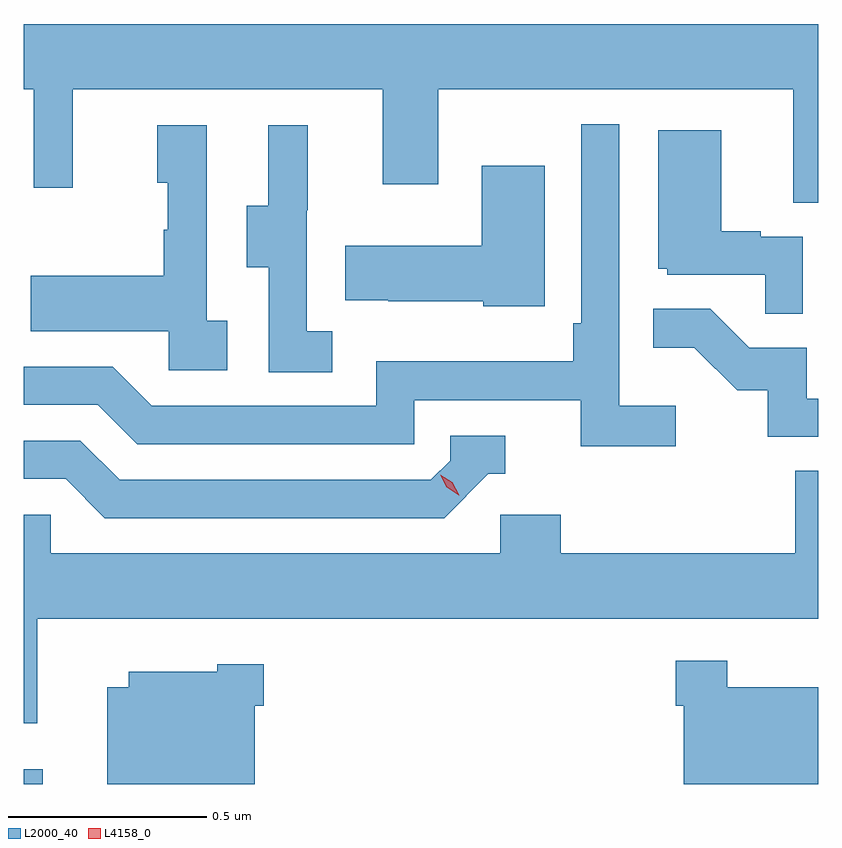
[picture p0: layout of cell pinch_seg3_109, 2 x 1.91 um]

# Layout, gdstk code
import gdstk
lib = gdstk.Library(unit=1e-6, precision=1e-09)
def R(c, l, rs):  # rectangles x0, y0, x1, y1
    for r in rs: c.add(gdstk.rectangle(r[:2], r[2:], *l))
def P(c, l, *ps):  # polygons
    for p in ps: c.add(gdstk.Polygon(p, *l))
L2000_40 = (2000, 40)
L4158_0 = (4158, 0)

pinch_seg3_109 = lib.new_cell('pinch_seg3_109')
R(pinch_seg3_109, L2000_40, [(1025.551,719.148,1025.599,719.185)])
P(pinch_seg3_109, L2000_40, [(1027.551,721.06),(1025.551,721.06),(1025.551,720.896),(1025.577,720.896),(1025.577,720.648),(1025.675,720.648),(1025.675,720.896),(1026.455,720.896),(1026.455,720.657),(1026.595,720.657),(1026.595,720.896),(1027.487,720.896),(1027.487,720.61),(1027.551,720.61)],
  [(1027.192,720.1),(1027.05,720.1),(1027.05,720.808),(1026.954,720.808),(1026.954,720.307),(1026.934,720.307),(1026.934,720.211),(1026.438,720.211),(1026.438,720.099),(1025.874,720.099),(1025.775,720.198),(1025.551,720.198),(1025.551,720.102),(1025.738,720.102),(1025.837,720.003),(1026.534,720.003),(1026.534,720.114),(1026.953,720.114),(1026.953,719.998),(1027.192,719.998)],
  [(1026.328,720.287),(1026.264,720.287),(1026.264,720.591),(1026.266,720.591),(1026.266,720.805),(1026.167,720.805),(1026.167,720.603),(1026.113,720.603),(1026.113,720.448),(1026.168,720.448),(1026.168,720.184),(1026.328,720.184)],
  [(1026.064,720.314),(1026.012,720.314),(1026.012,720.805),(1025.888,720.805),(1025.888,720.66),(1025.914,720.66),(1025.914,720.542),(1025.904,720.542),(1025.904,720.427),(1025.569,720.427),(1025.569,720.287),(1025.916,720.287),(1025.916,720.189),(1026.064,720.189)],
  [(1027.512,720.525),(1027.406,720.525),(1027.406,720.538),(1027.306,720.538),(1027.306,720.793),(1027.148,720.793),(1027.148,720.444),(1027.17,720.444),(1027.17,720.429),(1027.417,720.429),(1027.417,720.331),(1027.512,720.331)],
  [(1026.862,720.703),(1026.704,720.703),(1026.704,720.502),(1026.361,720.502),(1026.361,720.365),(1026.469,720.365),(1026.469,720.362),(1026.708,720.362),(1026.708,720.35),(1026.862,720.35)],
  [(1027.551,720.117),(1027.521,720.117),(1027.521,720.246),(1027.377,720.246),(1027.279,720.344),(1027.135,720.344),(1027.135,720.245),(1027.239,720.245),(1027.346,720.138),(1027.423,720.138),(1027.423,720.021),(1027.551,720.021)],
  [(1026.72,719.928),(1026.763,719.928),(1026.763,720.024),(1026.624,720.024),(1026.624,719.961),(1026.576,719.913),(1025.793,719.913),(1025.694,720.012),(1025.551,720.012),(1025.551,719.916),(1025.657,719.916),(1025.756,719.817),(1026.609,719.817)],
  [(1025.586,719.564),(1027.551,719.564),(1027.551,719.936),(1027.493,719.936),(1027.493,719.728),(1026.902,719.728),(1026.902,719.826),(1026.75,719.826),(1026.75,719.728),(1025.619,719.728),(1025.619,719.826),(1025.551,719.826),(1025.551,719.301),(1025.586,719.301)],
  [(1027.551,719.392),(1027.321,719.392),(1027.321,719.458),(1027.192,719.458),(1027.192,719.345),(1027.212,719.345),(1027.212,719.148),(1027.551,719.148)],
  [(1026.133,719.345),(1026.155,719.345),(1026.155,719.449),(1026.039,719.449),(1026.039,719.431),(1025.816,719.431),(1025.816,719.392),(1025.762,719.392),(1025.762,719.148),(1026.133,719.148)])
P(pinch_seg3_109, L4158_0, [(1026.646,719.874),(1026.616,719.894),(1026.599,719.926),(1026.599,719.926),(1026.599,719.926),(1026.63,719.907),(1026.647,719.874),(1026.647,719.874)])

lib.write_gds('pinch_seg3_109.gds')
